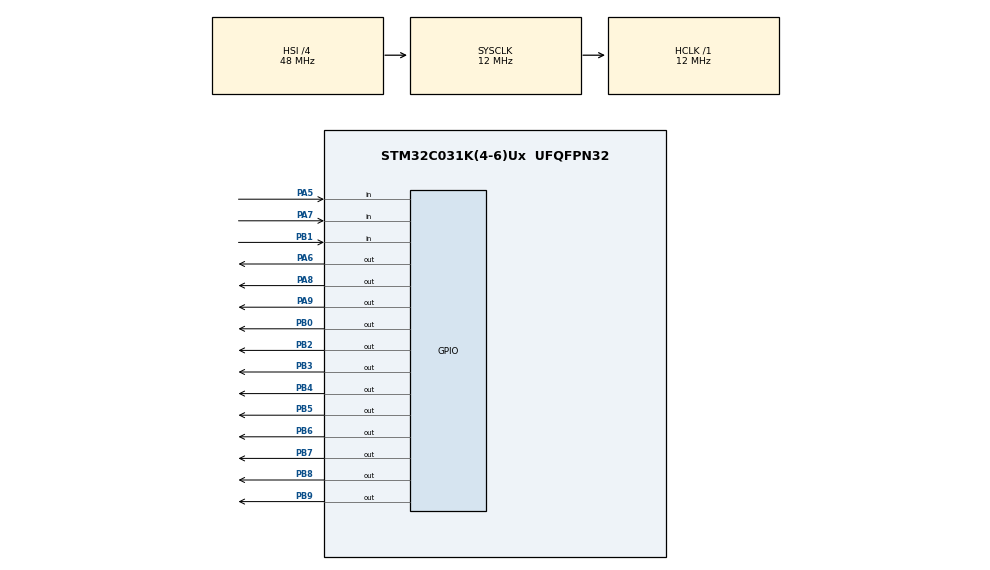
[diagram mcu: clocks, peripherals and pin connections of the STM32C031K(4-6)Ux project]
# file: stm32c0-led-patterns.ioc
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Mcu.Family=STM32C0
Mcu.Name=STM32C031K(4-6)Ux
Mcu.Package=UFQFPN32
NVIC.TIM3_IRQn=true\:0\:0\:false\:false\:true\:true\:true\:true
PA13.Mode=Serial_Wire
PA13.Signal=DEBUG_SWDIO
PA14-BOOT0.Mode=Serial_Wire
PA14-BOOT0.Signal=DEBUG_SWCLK
PA5.GPIO_PuPd=GPIO_PULLUP
PA5.Signal=GPIO_Input
PA6.Signal=GPIO_Output
PA7.GPIO_PuPd=GPIO_PULLUP
PA7.Signal=GPIO_Input
PA8.Signal=GPIO_Output
PA9.Signal=GPIO_Output
PB0.Signal=GPIO_Output
PB1.GPIO_PuPd=GPIO_PULLUP
PB1.Signal=GPIO_Input
PB2.Signal=GPIO_Output
PB3.Signal=GPIO_Output
PB4.Signal=GPIO_Output
PB5.Signal=GPIO_Output
PB6.Signal=GPIO_Output
PB7.Signal=GPIO_Output
PB8.Signal=GPIO_Output
PB9.Signal=GPIO_Output
PC14-OSCX_IN\ (PC14).Signal=S_TIM3_CH2
ProjectManager.HeapSize=0x200
ProjectManager.StackSize=0x400
ProjectManager.TargetToolchain=STM32CubeIDE
RCC.ADCFreq_Value=12000000
RCC.AHBFreq_Value=12000000
RCC.CortexFreq_Value=12000000
RCC.EXTERNAL_CLOCK_VALUE=12288000
RCC.HCLKFreq_Value=12000000
RCC.HSE_VALUE=8000000
RCC.HSI_VALUE=48000000
RCC.LSE_VALUE=32768
RCC.SYSCLKFreq_VALUE=12000000
SH.S_TIM3_CH2.0=TIM3_CH2
TIM3.Period=999
TIM3.Prescaler=11
VP_TIM3_VS_ClockSourceINT.Mode=Internal
board=custom

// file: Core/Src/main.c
/* USER CODE BEGIN Header */
/**
  ******************************************************************************
  * @file           : main.c
  * @brief          : Main program body
  ******************************************************************************
  * @attention
  *
  * Copyright (c) 2026 STMicroelectronics.
  * All rights reserved.
  *
  * This software is licensed under terms that can be found in the LICENSE file
  * in the root directory of this software component.
  * If no LICENSE file comes with this software, it is provided AS-IS.
  *
  ******************************************************************************
  */
/* USER CODE END Header */
#include "main.h"

/* USER CODE BEGIN Includes */
#include <stdlib.h>
#include <stdbool.h>

/* USER CODE END Includes */

/* USER CODE BEGIN PTD */
// Struct for storing LED info
typedef struct
{
	uint16_t duty;
	bool enabled;
} LED_t;

/* USER CODE END PTD */

TIM_HandleTypeDef htim3;

/* USER CODE BEGIN PV */
// Timer counter for interrupt PWM
volatile uint16_t g_tickCounter = 0;
volatile uint8_t g_pattern = 0;
// 10%, 20%, ..., 100%
uint16_t g_stepRes = 10;
// In ms, instead of duty % for less compute in interrupt cycles
uint16_t g_defaultDuty = 1;
uint8_t g_numLeds = 12;
volatile uint8_t g_patternStep = 0;
volatile bool g_gpioNotReset = true;

volatile LED_t ledArr[12];

/* USER CODE END PV */

void SystemClock_Config(void);
static void MX_GPIO_Init(void);
static void MX_TIM3_Init(void);
/* USER CODE BEGIN PFP */
void writeGPIO(uint8_t ledNum, bool enabled);
void pollButtons();
void alternating();
void ledChaser();
void sparkling();
void groupedLedChaser();
void breathing();
void comet();
void meteorShower();
void patternCycle();

/* USER CODE END PFP */

int main(void)
{

  /* MCU Configuration--------------------------------------------------------*/

  /* Reset of all peripherals, Initializes the Flash interface and the Systick. */
  HAL_Init();

  /* Configure the system clock */
  SystemClock_Config();

  /* Initialize all configured peripherals */
  MX_GPIO_Init();
  MX_TIM3_Init();
  /* USER CODE BEGIN 2 */
  if (HAL_TIM_Base_Start_IT(&htim3) != HAL_OK)
  {
      Error_Handler();
  }

  /* USER CODE END 2 */

  /* Infinite loop */
  /* USER CODE BEGIN WHILE */
  // Set all bits high

  while (1)
  {
    /* USER CODE END WHILE */

    /* USER CODE BEGIN 3 */
	// Poll if patterns changed
	pollButtons();

	// Pick non-blocking pattern based of button combination
	switch(g_pattern)
	{
		case 0:
			comet();
			break;
		case 1:
			alternating();
			break;
		case 2:
			sparkling();
			break;
		case 3:
			groupedLedChaser();
			break;
		case 4:
			breathing();
			break;
		case 5:
			ledChaser();
			break;
		case 6:
			meteorShower();
			break;
		case 7:
			patternCycle();
			break;

	}
  }
  /* USER CODE END 3 */
}

void SystemClock_Config(void)
{
  RCC_OscInitTypeDef RCC_OscInitStruct = {0};
  RCC_ClkInitTypeDef RCC_ClkInitStruct = {0};

  __HAL_FLASH_SET_LATENCY(FLASH_LATENCY_0);

  /** Initializes the RCC Oscillators according to the specified parameters
  * in the RCC_OscInitTypeDef structure.
  */
  RCC_OscInitStruct.OscillatorType = RCC_OSCILLATORTYPE_HSI;
  RCC_OscInitStruct.HSIState = RCC_HSI_ON;
  RCC_OscInitStruct.HSIDiv = RCC_HSI_DIV4;
  RCC_OscInitStruct.HSICalibrationValue = RCC_HSICALIBRATION_DEFAULT;
  if (HAL_RCC_OscConfig(&RCC_OscInitStruct) != HAL_OK)
  {
    Error_Handler();
  }

  /** Initializes the CPU, AHB and APB buses clocks
  */
  RCC_ClkInitStruct.ClockType = RCC_CLOCKTYPE_HCLK|RCC_CLOCKTYPE_SYSCLK
                              |RCC_CLOCKTYPE_PCLK1;
  RCC_ClkInitStruct.SYSCLKSource = RCC_SYSCLKSOURCE_HSI;
  RCC_ClkInitStruct.SYSCLKDivider = RCC_SYSCLK_DIV1;
  RCC_ClkInitStruct.AHBCLKDivider = RCC_HCLK_DIV1;
  RCC_ClkInitStruct.APB1CLKDivider = RCC_APB1_DIV1;

  if (HAL_RCC_ClockConfig(&RCC_ClkInitStruct, FLASH_LATENCY_0) != HAL_OK)
  {
    Error_Handler();
  }
}

static void MX_TIM3_Init(void)
{

  TIM_ClockConfigTypeDef sClockSourceConfig = {0};
  TIM_MasterConfigTypeDef sMasterConfig = {0};

  htim3.Instance = TIM3;
  htim3.Init.Prescaler = 11;
  htim3.Init.CounterMode = TIM_COUNTERMODE_UP;
  htim3.Init.Period = 999;
  htim3.Init.ClockDivision = TIM_CLOCKDIVISION_DIV1;
  htim3.Init.AutoReloadPreload = TIM_AUTORELOAD_PRELOAD_DISABLE;
  if (HAL_TIM_Base_Init(&htim3) != HAL_OK)
  {
    Error_Handler();
  }
  sClockSourceConfig.ClockSource = TIM_CLOCKSOURCE_INTERNAL;
  if (HAL_TIM_ConfigClockSource(&htim3, &sClockSourceConfig) != HAL_OK)
  {
    Error_Handler();
  }
  sMasterConfig.MasterOutputTrigger = TIM_TRGO_RESET;
  sMasterConfig.MasterSlaveMode = TIM_MASTERSLAVEMODE_DISABLE;
  if (HAL_TIMEx_MasterConfigSynchronization(&htim3, &sMasterConfig) != HAL_OK)
  {
    Error_Handler();
  }

}

static void MX_GPIO_Init(void)
{
  GPIO_InitTypeDef GPIO_InitStruct = {0};

  /* GPIO Ports Clock Enable */
  __HAL_RCC_GPIOB_CLK_ENABLE();
  __HAL_RCC_GPIOC_CLK_ENABLE();
  __HAL_RCC_GPIOA_CLK_ENABLE();

  /*Configure GPIO pin Output Level */
  HAL_GPIO_WritePin(GPIOB, GPIO_PIN_9|GPIO_PIN_0|GPIO_PIN_2|GPIO_PIN_3
                          |GPIO_PIN_4|GPIO_PIN_5|GPIO_PIN_6|GPIO_PIN_7
                          |GPIO_PIN_8, GPIO_PIN_RESET);

  /*Configure GPIO pin Output Level */
  HAL_GPIO_WritePin(GPIOA, GPIO_PIN_6|GPIO_PIN_8|GPIO_PIN_9, GPIO_PIN_RESET);

  /*Configure GPIO pins : PB9 PB0 PB2 PB3
                           PB4 PB5 PB6 PB7
                           PB8 */
  GPIO_InitStruct.Pin = GPIO_PIN_9|GPIO_PIN_0|GPIO_PIN_2|GPIO_PIN_3
                          |GPIO_PIN_4|GPIO_PIN_5|GPIO_PIN_6|GPIO_PIN_7
                          |GPIO_PIN_8;
  GPIO_InitStruct.Mode = GPIO_MODE_OUTPUT_PP;
  GPIO_InitStruct.Pull = GPIO_NOPULL;
  GPIO_InitStruct.Speed = GPIO_SPEED_FREQ_LOW;
  HAL_GPIO_Init(GPIOB, &GPIO_InitStruct);

  /*Configure GPIO pins : PA5 PA7 */
  GPIO_InitStruct.Pin = GPIO_PIN_5|GPIO_PIN_7;
  GPIO_InitStruct.Mode = GPIO_MODE_INPUT;
  GPIO_InitStruct.Pull = GPIO_PULLUP;
  HAL_GPIO_Init(GPIOA, &GPIO_InitStruct);

  /*Configure GPIO pins : PA6 PA8 PA9 */
  GPIO_InitStruct.Pin = GPIO_PIN_6|GPIO_PIN_8|GPIO_PIN_9;
  GPIO_InitStruct.Mode = GPIO_MODE_OUTPUT_PP;
  GPIO_InitStruct.Pull = GPIO_NOPULL;
  GPIO_InitStruct.Speed = GPIO_SPEED_FREQ_LOW;
  HAL_GPIO_Init(GPIOA, &GPIO_InitStruct);

  /*Configure GPIO pin : PB1 */
  GPIO_InitStruct.Pin = GPIO_PIN_1;
  GPIO_InitStruct.Mode = GPIO_MODE_INPUT;
  GPIO_InitStruct.Pull = GPIO_PULLUP;
  HAL_GPIO_Init(GPIOB, &GPIO_InitStruct);

}

/* USER CODE BEGIN 4 */

// ISR TIM3 for LED PWM
// Timer: Interrupt rate 1kHz, 1ms
void HAL_TIM_PeriodElapsedCallback(TIM_HandleTypeDef *htim)
{
	// Check instance member to see if tim3 has an IRQ
	if (htim->Instance == TIM3)
	{
		//Reset tick counter if reached 100%
		if (g_tickCounter >= g_stepRes)
		{
			g_tickCounter = 0;
		}

		// Cycle through LEDs
		for (uint8_t i = 0; i < g_numLeds; i++)
		{
			// If less than duty cycle set high else low
			if ((g_tickCounter < ledArr[i].duty) && ledArr[i].enabled)
			{
				writeGPIO(i + 1, true);
			}
			else
			{
				writeGPIO(i + 1, false);
			}
		}

		// Increment tick for each timer interrupt
		g_tickCounter++;
	}
}

// Lookup table to write GPIOs for PWM IRQ for cleanliness
void writeGPIO(uint8_t ledNum, bool enabled)
{
	switch (ledNum)
	{
		case 1:
			if (enabled)
			{
				HAL_GPIO_WritePin(GPIOB, GPIO_PIN_9, GPIO_PIN_SET);
			}
			else
			{
				HAL_GPIO_WritePin(GPIOB, GPIO_PIN_9, GPIO_PIN_RESET);
			}
			break;
		case 2:
			if (enabled)
			{
				HAL_GPIO_WritePin(GPIOA, GPIO_PIN_6, GPIO_PIN_SET);
			}
			else
			{
				HAL_GPIO_WritePin(GPIOA, GPIO_PIN_6, GPIO_PIN_RESET);
			}
			break;
		case 3:
			if (enabled)
			{
				HAL_GPIO_WritePin(GPIOB, GPIO_PIN_0, GPIO_PIN_SET);
			}
			else
			{
				HAL_GPIO_WritePin(GPIOB, GPIO_PIN_0, GPIO_PIN_RESET);
			}
			break;
		case 4:
			if (enabled)
			{
				HAL_GPIO_WritePin(GPIOB, GPIO_PIN_2, GPIO_PIN_SET);
			}
			else
			{
				HAL_GPIO_WritePin(GPIOB, GPIO_PIN_2, GPIO_PIN_RESET);
			}
			break;
		case 5:
			if (enabled)
			{
				HAL_GPIO_WritePin(GPIOA, GPIO_PIN_8, GPIO_PIN_SET);
			}
			else
			{
				HAL_GPIO_WritePin(GPIOA, GPIO_PIN_8, GPIO_PIN_RESET);
			}
			break;
		case 6:
			if (enabled)
			{
				HAL_GPIO_WritePin(GPIOA, GPIO_PIN_9, GPIO_PIN_SET);
			}
			else
			{
				HAL_GPIO_WritePin(GPIOA, GPIO_PIN_9, GPIO_PIN_RESET);
			}
			break;
		case 7:
			if (enabled)
			{
				HAL_GPIO_WritePin(GPIOB, GPIO_PIN_3, GPIO_PIN_SET);
			}
			else
			{
				HAL_GPIO_WritePin(GPIOB, GPIO_PIN_3, GPIO_PIN_RESET);
			}
			break;
		case 8:
			if (enabled)
			{
				HAL_GPIO_WritePin(GPIOB, GPIO_PIN_4, GPIO_PIN_SET);
			}
			else
			{
				HAL_GPIO_WritePin(GPIOB, GPIO_PIN_4, GPIO_PIN_RESET);
			}
			break;
		case 9:
			if (enabled)
			{
				HAL_GPIO_WritePin(GPIOB, GPIO_PIN_5, GPIO_PIN_SET);
			}
			else
			{
				HAL_GPIO_WritePin(GPIOB, GPIO_PIN_5, GPIO_PIN_RESET);
			}
			break;
		case 10:
			if (enabled)
			{
				HAL_GPIO_WritePin(GPIOB, GPIO_PIN_6, GPIO_PIN_SET);
			}
			else
			{
				HAL_GPIO_WritePin(GPIOB, GPIO_PIN_6, GPIO_PIN_RESET);
			}
			break;
		case 11:
			if (enabled)
			{
				HAL_GPIO_WritePin(GPIOB, GPIO_PIN_7, GPIO_PIN_SET);
			}
			else
			{
				HAL_GPIO_WritePin(GPIOB, GPIO_PIN_7, GPIO_PIN_RESET);
			}
			break;
		case 12:
			if (enabled)
			{
				HAL_GPIO_WritePin(GPIOB, GPIO_PIN_8, GPIO_PIN_SET);
			}
			else
			{
				HAL_GPIO_WritePin(GPIOB, GPIO_PIN_8, GPIO_PIN_RESET);
			}
			break;
	}
}

// Helper function for sparkling pattern to pick a new random index for LEDs
static void reassignLedIdx(uint8_t randomLedIdx[3], uint8_t slot)
{
	bool notFarEnoughApart = true;
	// Loop for checking new idx until led idxs are spaced out
	while (notFarEnoughApart)
	{
		// get random num from 0-11
		randomLedIdx[slot] = rand() % g_numLeds;
		notFarEnoughApart = false;

		for (uint8_t j = 0; j < 3; j++)
		{
			// Don't check idx difference for same idx
			if (j == slot)
			{
				continue;
			}

			// Difference between new led idx and others idxs
			uint8_t wrapDiff = g_numLeds - abs(randomLedIdx[slot] - randomLedIdx[j]);

			if (wrapDiff > g_numLeds / 2)
			{
				wrapDiff = g_numLeds - wrapDiff;
			}

			// Check if difference is more than 1
			if (wrapDiff <= 1)
			{
				notFarEnoughApart = true;
				break;
			}
		}
	}
}

void sparkling()
{
	static uint32_t startTime = 0;
	static bool firstCycle = false;
	static uint8_t randomLedIdx[3];

	// Reset LEDs on first pattern run, and seed the initial 3 indices
	if (g_gpioNotReset)
	{
		for (uint8_t i = 0; i < g_numLeds; i++)
		{
			ledArr[i].enabled = false;
			ledArr[i].duty = g_defaultDuty;
		}

		// Initial seed for all three slots (same spacing rule as before,
		// checking only against already-assigned slots since this only
		// runs once at reset)
		for (uint8_t i = 0; i < 3; i++)
		{
			randomLedIdx[i] = rand() % g_numLeds;

			for (uint8_t j = 0; j < i; j++)
			{
				bool notFarEnoughApart = true;
				while (notFarEnoughApart)
				{
					uint8_t wrapDiff = g_numLeds - abs(randomLedIdx[i] - randomLedIdx[j]);

					if (wrapDiff > g_numLeds / 2)
						wrapDiff = g_numLeds - wrapDiff;

					if (wrapDiff <= 1)
					{
						randomLedIdx[i] = rand() % g_numLeds;
					}
					else
					{
						notFarEnoughApart = false;
					}
				}
			}
		}

		g_gpioNotReset = false;
		firstCycle = true;
	}

	// Delay for each brightness increase
	uint16_t brightnessDelay = 300;

	switch(g_patternStep)
	{
		case 0:
			if (HAL_GetTick() - startTime >= brightnessDelay)
			{

				ledArr[randomLedIdx[0]].enabled = true;
				ledArr[randomLedIdx[0]].duty = g_defaultDuty;

				startTime = HAL_GetTick();
				if (firstCycle)
				{
					g_patternStep += 3;
				}
				else
				{
					g_patternStep++;
				}
			}
			break;
		case 1:
			if (HAL_GetTick() - startTime >= 100)
			{

				ledArr[randomLedIdx[1]].enabled = false;
				// idx[1] just turned off -> pick its next target now
				reassignLedIdx(randomLedIdx, 1);

				startTime = HAL_GetTick();
				g_patternStep++;
			}
			break;
		case 2:
			if (HAL_GetTick() - startTime >= 100)
			{

				ledArr[randomLedIdx[2]].duty = g_defaultDuty;

				startTime = HAL_GetTick();
				g_patternStep++;
			}
			break;
		case 3:
			if (HAL_GetTick() - startTime >= brightnessDelay)
			{
				ledArr[randomLedIdx[0]].duty = g_defaultDuty * 2;

				startTime = HAL_GetTick();
				g_patternStep++;
			}
			break;
		case 4:
			if (HAL_GetTick() - startTime >= 100)
			{
				ledArr[randomLedIdx[1]].duty = g_defaultDuty;
				ledArr[randomLedIdx[1]].enabled = g_defaultDuty;

				startTime = HAL_GetTick();
				if (firstCycle)
				{
					g_patternStep += 2;
					firstCycle = false;
				}
				else
				{
					g_patternStep++;
				}
			}
			break;
		case 5:
			if (HAL_GetTick() - startTime >= 100)
			{
				ledArr[randomLedIdx[2]].enabled = false;
				// idx[2] just turned off -> pick its next target now
				reassignLedIdx(randomLedIdx, 2);

				startTime = HAL_GetTick();
				g_patternStep++;
			}
			break;
		case 6:
			if (HAL_GetTick() - startTime >= brightnessDelay)
			{
				ledArr[randomLedIdx[0]].duty = g_defaultDuty * 3;

				startTime = HAL_GetTick();
				g_patternStep++;
			}
			break;
		case 7:
			if (HAL_GetTick() - startTime >= 100)
			{
				ledArr[randomLedIdx[1]].duty = g_defaultDuty * 2;

				startTime = HAL_GetTick();
				g_patternStep++;
			}
			break;
		case 8:
			if (HAL_GetTick() - startTime >= 100)
			{
				ledArr[randomLedIdx[2]].duty = g_defaultDuty;
				ledArr[randomLedIdx[2]].enabled = true;

				startTime = HAL_GetTick();
				g_patternStep++;
			}
			break;
		case 9:
			if (HAL_GetTick() - startTime >= brightnessDelay)
			{
				ledArr[randomLedIdx[0]].duty = g_defaultDuty * 2;

				startTime = HAL_GetTick();
				g_patternStep++;
			}
			break;
		case 10:
			if (HAL_GetTick() - startTime >= 100)
			{
				ledArr[randomLedIdx[1]].duty = g_defaultDuty * 3;

				startTime = HAL_GetTick();
				g_patternStep++;
			}
			break;
		case 11:
			if (HAL_GetTick() - startTime >= 100)
			{
				ledArr[randomLedIdx[2]].duty = g_defaultDuty * 2;

				startTime = HAL_GetTick();
				g_patternStep++;
			}
			break;
		case 12:
			if (HAL_GetTick() - startTime >= brightnessDelay)
			{
				ledArr[randomLedIdx[0]].duty = g_defaultDuty;

				startTime = HAL_GetTick();
				g_patternStep++;
			}
			break;
		case 13:
			if (HAL_GetTick() - startTime >= 100)
			{
				ledArr[randomLedIdx[1]].duty = g_defaultDuty * 2;

				startTime = HAL_GetTick();
				g_patternStep++;
			}
			break;
		case 14:
			if (HAL_GetTick() - startTime >= 100)
			{
				ledArr[randomLedIdx[2]].duty = g_defaultDuty * 3;

				startTime = HAL_GetTick();
				g_patternStep++;
			}
			break;
		case 15:
			if (HAL_GetTick() - startTime >= brightnessDelay)
			{
				ledArr[randomLedIdx[0]].duty = g_defaultDuty;

				startTime = HAL_GetTick();
				g_patternStep++;
			}
			break;
		case 16:
			if (HAL_GetTick() - startTime >= 100)
			{
				ledArr[randomLedIdx[1]].duty = g_defaultDuty * 2;

				startTime = HAL_GetTick();
				g_patternStep++;
			}
			break;
		case 17:
			if (HAL_GetTick() - startTime >= 100)
			{
				ledArr[randomLedIdx[2]].duty = g_defaultDuty * 3;

				startTime = HAL_GetTick();
				g_patternStep++;
			}
			break;
		case 18:
			if (HAL_GetTick() - startTime >= brightnessDelay)
			{

				ledArr[randomLedIdx[0]].enabled = false;
				// idx[0] just turned off -> pick its next target now
				reassignLedIdx(randomLedIdx, 0);

				startTime = HAL_GetTick();
				g_patternStep++;
			}
			break;
		case 19:
			if (HAL_GetTick() - startTime >= 100)
			{
				ledArr[randomLedIdx[1]].duty = g_defaultDuty;

				startTime = HAL_GetTick();
				g_patternStep++;
			}
			break;
		case 20:
			if (HAL_GetTick() - startTime >= 100)
			{
				ledArr[randomLedIdx[2]].duty = g_defaultDuty * 2;

				startTime = HAL_GetTick();
				g_patternStep = 0;
			}
			break;
	}
}

void ledChaser()
{
	static uint32_t startTime = 0;

	if (g_gpioNotReset)
	{
		for (uint8_t i = 0; i < g_numLeds; i++)
		{
			ledArr[i].enabled = false;
			ledArr[i].duty = g_defaultDuty;

			g_gpioNotReset = false;
		}
	}

	uint16_t chaseDelay = 100;

	if (HAL_GetTick() - startTime >= chaseDelay)
	{
		// Reset led idx once done one full cycle
		if (g_patternStep >= g_numLeds)
		{
			g_patternStep = 0;
		}

		// Turn off last LED from last idx
		ledArr[g_patternStep].enabled = false;
		// Turn on middle led and leds either side of it
		ledArr[(g_patternStep + 1) % g_numLeds].enabled = true;
		ledArr[(g_patternStep + 2) % g_numLeds].enabled = true;
		ledArr[(g_patternStep + 3) % g_numLeds].enabled = true;

		// Make middle LED brightest and leds on either side dimmer
		// for a fading effect as they cycle
		ledArr[(g_patternStep + 1) % g_numLeds].duty = g_defaultDuty;
		ledArr[(g_patternStep + 2) % g_numLeds].duty = g_defaultDuty * 5;
		ledArr[(g_patternStep + 3) % g_numLeds].duty = g_defaultDuty;

		startTime = HAL_GetTick();
		g_patternStep++;
	}
}

void alternating()
{
	static uint32_t startTime = 0;

	if (g_gpioNotReset)
	{
		for (uint8_t i = 0; i < g_numLeds; i++)
		{
			ledArr[i].enabled = false;
			ledArr[i].duty = g_defaultDuty;

			g_gpioNotReset = false;
		}
	}

	switch(g_patternStep)
	{
		case 0:
			if (HAL_GetTick() - startTime >= 500)
			{
				for (uint8_t i = 0; i < g_numLeds; i += 2)
				{
					ledArr[i].enabled = true;
					ledArr[i].duty = g_defaultDuty;
					ledArr[i+1].enabled = false;
					ledArr[i+1].duty = g_defaultDuty;
				}
				startTime = HAL_GetTick();
				g_patternStep++;
			}
			break;
		case 1:
			if (HAL_GetTick() - startTime >= 500)
			{
				for (uint8_t i = 0; i < g_numLeds; i += 2)
				{
					ledArr[i].enabled = false;
					ledArr[i+1].enabled = true;
				}
				startTime = HAL_GetTick();
				g_patternStep = 0;
			}
			break;
	}
}

void groupedLedChaser()
{
	static uint32_t startTime = 0;

	if (g_gpioNotReset)
	{
		for (uint8_t i = 0; i < g_numLeds; i++)
		{
			ledArr[i].enabled = false;
			ledArr[i].duty = g_defaultDuty;
		}

		g_gpioNotReset = false;
	}

	uint16_t groupDelay = 500;

	if (HAL_GetTick() - startTime >= groupDelay)
	{
		// Turn all LEDs off first
		for (uint8_t i = 0; i < g_numLeds; i++)
		{
			ledArr[i].enabled = false;
		}

		// Turn on the current group of 3
		uint8_t startLed = g_patternStep * 3;

		for (uint8_t i = 0; i < 3; i++)
		{
			ledArr[startLed + i].enabled = true;
			ledArr[startLed + i].duty = g_defaultDuty;
		}

		startTime = HAL_GetTick();

		// Move to next group
		g_patternStep++;

		// 4 groups: 1-3, 4-6, 7-9, 10-12
		if (g_patternStep >= g_numLeds / 3)
		{
			g_patternStep = 0;
		}
	}
}

void breathing()
{
	static uint32_t startTime = 0;

	if (g_gpioNotReset)
	{
		for (uint8_t i = 0; i < g_numLeds; i++)
		{
			ledArr[i].enabled = true;
			ledArr[i].duty = 0;
		}

		g_gpioNotReset = false;
		g_patternStep = 0;
	}

	uint16_t breathingDelay = 50;

	if (HAL_GetTick() - startTime >= breathingDelay)
	{
		switch (g_patternStep)
		{
			// Increasing brightness
			case 0:
				for (uint8_t i = 0; i < g_numLeds; i++)
				{
					ledArr[i].duty++;

					if (ledArr[i].duty >= g_stepRes)
					{
						ledArr[i].duty = g_stepRes;
						g_patternStep = 1;
					}
				}
				break;

			// Decreasing brightness
			case 1:
				for (uint8_t i = 0; i < g_numLeds; i++)
				{
					if (ledArr[i].duty > 0)
					{
						ledArr[i].duty--;
					}
					else
					{
						g_patternStep = 0;
					}
				}
				break;
		}

		startTime = HAL_GetTick();
	}
}

void comet()
{
	static uint32_t startTime = 0;

	if (g_gpioNotReset)
	{
		for (uint8_t i = 0; i < g_numLeds; i++)
		{
			ledArr[i].enabled = false;
			ledArr[i].duty = g_defaultDuty;
		}

		g_gpioNotReset = false;
		g_patternStep = 0;
	}

	uint16_t cometDelay = 100;

	if (HAL_GetTick() - startTime >= cometDelay)
	{
		// Turn all LEDs off
		for (uint8_t i = 0; i < g_numLeds; i++)
		{
			ledArr[i].enabled = false;
			ledArr[i].duty = g_defaultDuty;
		}

		// Current LED
		uint8_t head = g_patternStep;

		// Head - brightest
		ledArr[head].enabled = true;
		ledArr[head].duty = g_defaultDuty * 5;

		// Tail - medium brightness
		ledArr[(head + g_numLeds - 1) % g_numLeds].enabled = true;
		ledArr[(head + g_numLeds - 1) % g_numLeds].duty = g_defaultDuty * 3;

		// Tail - dimmer
		ledArr[(head + g_numLeds - 2) % g_numLeds].enabled = true;
		ledArr[(head + g_numLeds - 2) % g_numLeds].duty = g_defaultDuty * 2;

		// Tail - dimmest
		ledArr[(head + g_numLeds - 3) % g_numLeds].enabled = true;
		ledArr[(head + g_numLeds - 3) % g_numLeds].duty = g_defaultDuty;

		// Move comet
		g_patternStep++;

		if (g_patternStep >= g_numLeds)
		{
			g_patternStep = 0;
		}

		startTime = HAL_GetTick();
	}
}

void meteorShower()
{
	static uint32_t startTime = 0;
	static uint8_t head1 = 0;
	static uint8_t head2 = 5;
	static uint8_t head3 = 9;

	uint16_t meteorDelay = 120;

	if (g_gpioNotReset)
	{
		for (uint8_t i = 0; i < g_numLeds; i++)
		{
			ledArr[i].enabled = false;
			ledArr[i].duty = g_defaultDuty;
		}

		head1 = 0;
		head2 = 5;
		head3 = 9;

		g_patternStep = 0;
		g_gpioNotReset = false;
	}

	if (HAL_GetTick() - startTime >= meteorDelay)
	{
		// Turn everything off
		for (uint8_t i = 0; i < g_numLeds; i++)
		{
			ledArr[i].enabled = false;
			ledArr[i].duty = g_defaultDuty;
		}

		// Meteor 1
		ledArr[head1].enabled = true;
		ledArr[head1].duty = g_stepRes;

		ledArr[(head1 + g_numLeds - 1) % g_numLeds].enabled = true;
		ledArr[(head1 + g_numLeds - 1) % g_numLeds].duty = g_defaultDuty * 3;

		ledArr[(head1 + g_numLeds - 2) % g_numLeds].enabled = true;
		ledArr[(head1 + g_numLeds - 2) % g_numLeds].duty = g_defaultDuty;

		// Meteor 2
		ledArr[head2].enabled = true;
		ledArr[head2].duty = g_stepRes;

		ledArr[(head2 + g_numLeds - 1) % g_numLeds].enabled = true;
		ledArr[(head2 + g_numLeds - 1) % g_numLeds].duty = g_defaultDuty * 3;

		ledArr[(head2 + g_numLeds - 2) % g_numLeds].enabled = true;
		ledArr[(head2 + g_numLeds - 2) % g_numLeds].duty = g_defaultDuty;

		// Meteor 3
		ledArr[head3].enabled = true;
		ledArr[head3].duty = g_stepRes;

		ledArr[(head3 + g_numLeds - 1) % g_numLeds].enabled = true;
		ledArr[(head3 + g_numLeds - 1) % g_numLeds].duty = g_defaultDuty * 3;

		ledArr[(head3 + g_numLeds - 2) % g_numLeds].enabled = true;
		ledArr[(head3 + g_numLeds - 2) % g_numLeds].duty = g_defaultDuty;

		// Move meteors
		head1++;
		head2++;
		head3++;

		// Wrap around
		if (head1 >= g_numLeds)
			head1 = 0;

		if (head2 >= g_numLeds)
			head2 = 0;

		if (head3 >= g_numLeds)
			head3 = 0;

		startTime = HAL_GetTick();
	}
}

void patternCycle()
{
	static uint32_t startTime = 0;
	static uint8_t currentPattern = 0;

	uint16_t patternDelay = 5000;

	if (HAL_GetTick() - startTime >= patternDelay)
	{
		// Move to next g_pattern
		currentPattern++;

		if (currentPattern >= 7)
		{
			currentPattern = 0;
		}

		// Reset g_pattern state
		g_patternStep = 0;
		g_gpioNotReset = true;

		// Prevent the individual g_pattern from being selected
		// through the global g_pattern variable
		g_pattern = 7;

		startTime = HAL_GetTick();
	}

	// Run current g_pattern
	switch (currentPattern)
	{
		case 0:
			alternating();
			break;

		case 1:
			ledChaser();
			break;

		case 2:
			sparkling();
			break;

		case 3:
			groupedLedChaser();
			break;

		case 4:
			breathing();
			break;

		case 5:
			comet();
			break;

		case 6:
			meteorShower();
			break;
	}
}

void pollButtons()
{
    uint8_t newPattern = 0;

    // PA5 = bit 0
    if (HAL_GPIO_ReadPin(GPIOA, GPIO_PIN_5) == GPIO_PIN_RESET)
    {
        newPattern |= (1 << 0);
    }

    // PA7 = bit 1
    if (HAL_GPIO_ReadPin(GPIOA, GPIO_PIN_7) == GPIO_PIN_RESET)
    {
        newPattern |= (1 << 1);
    }

    // PB1 = bit 2
    if (HAL_GPIO_ReadPin(GPIOB, GPIO_PIN_1) == GPIO_PIN_RESET)
    {
        newPattern |= (1 << 2);
    }

    // Only reset the g_pattern when the selected pattern changes
    if (newPattern != g_pattern)
    {
        g_pattern = newPattern;
        g_patternStep = 0;
        g_gpioNotReset = true;
    }
}

/* USER CODE END 4 */

void Error_Handler(void)
{
  __disable_irq();
  while (1)
  {
  }
}
